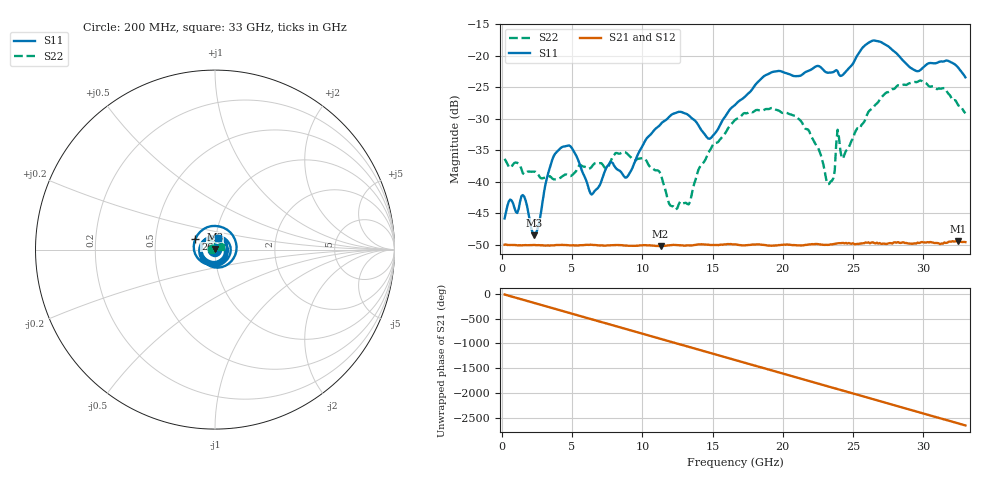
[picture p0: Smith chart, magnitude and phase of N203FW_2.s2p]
# GHZ S RI R 50
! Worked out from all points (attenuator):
!   329 points, 200 MHz to 33 GHz, reference 50 ohm
!   highest |S21| = -49.39 dB at 32.5 GHz (marker M1); lowest = -50.2 dB at 11.3 GHz (marker M2)
!   lowest |S11| = -48.4 dB at 2.3 GHz (marker M3), VSWR 1.01, Z = 50.1 + j0.372 ohm
!   |S11| at or under -10 dB: start of sweep to end of sweep
!   |S22| runs from -44.4 to -23.9 dB; largest |S21 - S12| = 8.8e-05
!   S11 on the Smith chart (normalised r, x): 200 MHz: 1.01, +0.00; 26 GHz: 0.80, +0.10; 33 GHz: 1.02, +0.13
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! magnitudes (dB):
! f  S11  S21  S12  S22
! 200 MHz  -45.8  -50.0  -49.9  -36.3
! 1.5 GHz  -42.1  -50.0  -50.0  -38.6
! 2.3 GHz  -48.4  -50.0  -50.0  -38.4
! 3.8 GHz  -35.5  -50.0  -50.0  -39.6
! 5.7 GHz  -38.2  -50.0  -50.0  -37.5
! 6.4 GHz  -42.0  -50.0  -50.0  -37.6
! 7.7 GHz  -36.9  -50.0  -50.0  -37.0
! 8.9 GHz  -39.2  -50.1  -50.1  -35.5
! 11.2 GHz  -31.1  -50.2  -50.2  -38.3
! 11.3 GHz  -30.8  -50.2  -50.2  -38.7
! 13.3 GHz  -29.4  -50.1  -50.1  -43.6
! 14.8 GHz  -33.1  -50.0  -50.0  -35.0
! 16.6 GHz  -27.8  -49.9  -49.9  -30.2
! 22.1 GHz  -22.1  -49.9  -49.8  -33.1
! 23.3 GHz  -22.7  -50.0  -50.0  -40.3
! 23.7 GHz  -22.4  -49.8  -49.8  -38.2
! 23.9 GHz  -22.4  -49.8  -49.8  -31.7
! 24.3 GHz  -23.0  -49.7  -49.6  -36.3
! 26 GHz  -18.1  -49.6  -49.6  -29.3
! 27.6 GHz  -18.6  -49.7  -49.7  -25.6
! 32.5 GHz  -21.9  -49.4  -49.4  -27.9
! 33 GHz  -23.4  -49.5  -49.6  -29.1
